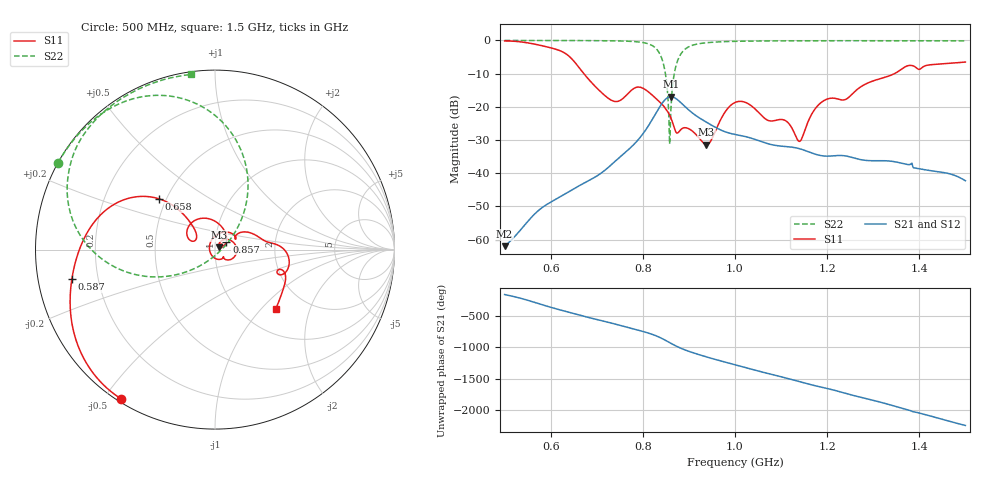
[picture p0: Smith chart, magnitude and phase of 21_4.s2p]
! TOUCHSTONE file generated by CST MICROWAVE STUDIO
! Date and time: Wed Oct 28 19:17:25 2020
! Project name: Scenario_1_Circular_Tissue_out_of_Line.cst
! Parameters = {dy1=0.82; L_HA=400; MT=2.54; Rad_Dielectric=30; Rad_Lower=7.3; Rad_Upper=30; a_HA=580; a_WG=246; b_HA=500; b_WG=121; c_HA=0; c_WG=187; d_feed=85; dx1=693; h_feed=15; h_lower=18; h_upper=40}
! Header version: 2018
! Port assignment regex: !\s*Touchstone port\s*([0-9]+)\s*=\s*(CST MWS port|CST DS port)\s*([0-9]+|Zmin|Zmax)\s*\(\"(.*)\"\)(\s*mode\s*([0-9]+))?.*
! Touchstone port assignment:
! Touchstone port 1 = CST MWS port 1 ("")
! Touchstone port 2 = CST MWS port 2 ("")
# GHz S DB R 50
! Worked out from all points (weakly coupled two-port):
!   1001 points, 500 MHz to 1.5 GHz, reference 50 ohm
!   highest |S21| = -16.94 dB at 861 MHz (marker M1); lowest = -62.0 dB at 500 MHz (marker M2)
!   lowest |S11| = -31.4 dB at 938 MHz (marker M3), VSWR 1.06, Z = 52.3 + j1.45 ohm
!   |S11| at or under -10 dB: 672 MHz to 1.346 GHz (674.1 MHz wide, 66.8 % of centre)
!   |S22| runs from -31.2 to 0.0 dB; largest |S21 - S12| = 0.00041
!   S11 on the Smith chart (normalised r, x): 500 MHz: 0.01, -0.55; 587 MHz: 0.10, -0.10; 658 MHz: 0.46, +0.31; 857 MHz: 1.13, +0.10; 1.5 GHz: 1.42, -1.21
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0.5  -0.16 -122.3  -61.96 -166.4  -61.96 -166.4  -0.01 151.1
0.587  -1.78 -168.3  -49.80 19.8  -49.80 19.8  -0.02 145.1
0.622  -3.20 167.5  -47.00 -52.8  -47.00 -52.8  -0.02 142.4
0.658  -7.54 137.7  -44.06 -123.1  -44.06 -123.1  -0.04 139.2
0.667  -9.13 134.0  -43.36 -140.6  -43.36 -140.6  -0.04 138.4
0.735  -18.22 146.6  -37.01 95.6  -37.00 95.6  -0.12 130.1
0.779  -14.59 147.2  -31.53 10.1  -31.53 10.1  -0.32 120.7
0.815  -15.83 92.2  -25.06 -64.0  -25.06 -64.0  -1.19 103.6
0.834  -18.20 67.2  -20.60 -116.5  -20.60 -116.5  -3.37 83.8
0.847  -20.10 50.3  -18.01 -162.9  -18.01 -162.9  -8.49 60.9
0.857  -22.18 34.6  -17.02 156.8  -17.02 156.8  -25.65 16.0
0.861  -23.38 29.0  -16.94 140.6  -16.94 140.6  -20.49 -127.5
0.869  -26.69 26.8  -17.27 109.3  -17.27 109.3  -9.40 -153.4
0.881  -27.06 43.7  -18.54 67.5  -18.54 67.5  -4.42 -172.8
0.902  -26.77 25.1  -21.22 8.6  -21.22 8.6  -1.75 167.4
0.938  -31.40 30.9  -24.62 -74.2  -24.63 -74.2  -0.70 152.0
1  -18.69 13.2  -28.31 163.1  -28.31 163.1  -0.27 140.2
1.11  -24.19 -62.0  -31.95 -47.3  -31.95 -47.3  -0.12 128.8
1.139  -30.38 -163.0  -32.57 -104.9  -32.57 -104.9  -0.10 126.4
1.167  -22.07 86.8  -33.92 -158.6  -33.92 -158.6  -0.09 124.2
1.334  -10.70 8.6  -36.30 -108.2  -36.30 -108.2  -0.09 111.4
1.5  -6.51 -44.3  -42.25 -80.0  -42.25 -80.0  -0.13 97.9
